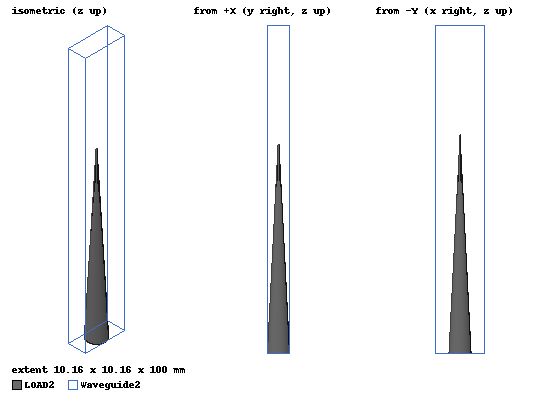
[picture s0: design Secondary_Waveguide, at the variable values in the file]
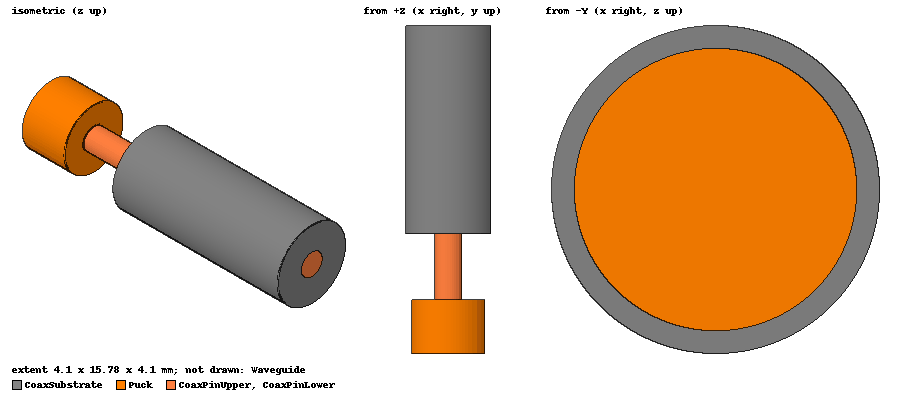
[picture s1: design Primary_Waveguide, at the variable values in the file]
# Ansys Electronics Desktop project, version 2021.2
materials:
  vacuum: permittivity=1
  ALKARD SF75: permittivity=10 permeability=1.8 dielectric_loss_tangent=0.28 magnetic_loss_tangent=0.5 delta_H_freq=10000000000
  air: permittivity=1.0006 permeability=1.0000004
  Teflon (tm): permittivity=2.1 dielectric_loss_tangent=0.001
  copper: permeability=0.999991 conductivity=58000000

design Secondary_Waveguide (HFSS, DrivenModal, model units mm)
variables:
  WWG2 = 22.86mm
  HWG2 = 10.16mm
  LWG2 = 150mm
  DLOAD = (10.16/2) mm
  HLOAD = 100mm
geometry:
  Waveguide2 [air] = box(corner=(-WWG2/2, -HWG2/2, 0mm), size=(WWG2, HWG2, LWG2))
  LOAD2 [ALKARD SF75] = cone(axis=Z, base_centre=(0mm, 0mm, 0mm), bottom_radius=DLOAD, top_radius=0mm, height=HLOAD)
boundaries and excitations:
  PortWG2: Wave Port Faces=Waveguide2.face(+z) NumModes=1 Modes{Mode1{CharImp=Zpi}}
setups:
  Part1: HfssDrivenAuto AutoSolverSetting=Balanced Type=Interpolating
    sweep Sweep: 8.2GHz to 12.4GHz, 1000 points;
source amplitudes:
  PortWG2:1: 1W 0deg
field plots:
  Mag_E1: E Field in Waveguide2 on Part1 : LastAdaptive at Freq=10.3GHz Phase=0deg
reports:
  S Parameter Plot 1: dB(S(PortWG2,PortWG2)) vs Freq on Part1 : Sweep

design Primary_Waveguide (HFSS, DrivenModal, model units mm)
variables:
  WWG2 = 20.86mm
  HWG2 = 10.16mm
  LWG2 = 50mm
  LLAT = WWG2/2
  LBOTTOM = 6.3970588mm  # optimise 2.5mm..7.5mm
  LCOAX = 10mm
  DOUTER = 4.1mm
  LDEPTH = 3.2026144mm  # optimise 2.5mm..7.5mm
  DINNER = 1.27mm
  DPUCK = 3.5294118mm  # optimise 2.5mm..7.5mm
  LPUCK = 2.5735294mm  # optimise 1.25mm..3.75mm
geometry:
  Waveguide [air] = box(corner=(-WWG2/2, -HWG2/2, 0mm), size=(WWG2, HWG2, LWG2))
  CoaxSubstrate [Teflon (tm)] = cylinder(axis=Y, base_centre=((WWG2/2)-LLAT, HWG2/2, LBOTTOM), radius=DOUTER/2, height=LCOAX)
  CoaxPinUpper [copper] = cylinder(axis=Y, base_centre=((WWG2/2)-LLAT, (HWG2/2), LBOTTOM), radius=-(DINNER/2), height=LCOAX)
  Puck [copper] = cylinder(axis=Y, base_centre=((WWG2/2)-LLAT, (HWG2/2)-LDEPTH, LBOTTOM), radius=(DPUCK/2), height=-LPUCK)
  CoaxPinLower [copper] = cylinder(axis=Y, base_centre=((WWG2/2)-LLAT, (HWG2/2)-LDEPTH, LBOTTOM), radius=-(DINNER/2), height=LDEPTH)
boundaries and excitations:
  CoaxPort: Wave Port Faces=CoaxSubstrate.face(3 of 3) NumModes=1 Modes{Mode1{CharImp=Zpi}}
  WaveguidePort: Wave Port Faces=Waveguide.face(+z) NumModes=1 Modes{Mode1{CharImp=Zpi}}
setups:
  Part2: HfssDrivenAuto AutoSolverSetting=Balanced Type=Interpolating
    sweep Sweep: 8.2GHz to 12.4GHz, 250 points;
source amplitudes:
  CoaxPort:1: 1W 0deg
  WaveguidePort:1: 0W 0deg
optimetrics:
  OptimizationSetup1: Optimization Optimizer="kDX ASO" AnalysisStopOptions{StopForNumIteration MaxNumIteration=68 MinNumIteration=10} CostFuncNormType=L2 Acceptable_Cost=0 Noise=0.0001 UpdateDesignWhenDone
    vary LPUCK: Min=1mm Max=3.5mm MinStep=0.025mm MaxStep=0.25mm MinFocus=1.25mm MaxFocus=3.75mm start=2.8235294mm
    goal dB(S(CoaxPort,CoaxPort)) <= -25 weight 1 on Part2 : Sweep at Freq 8.2GHz to 12.4GHz
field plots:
  Mag_E1: E Field in Waveguide on Part2 : LastAdaptive at Freq=10.3GHz Phase=0deg
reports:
  S Parameter Plot 1: dB(S(CoaxPort,CoaxPort)), dB(S(CoaxPort,WaveguidePort)) vs Freq on Part2 : Sweep
